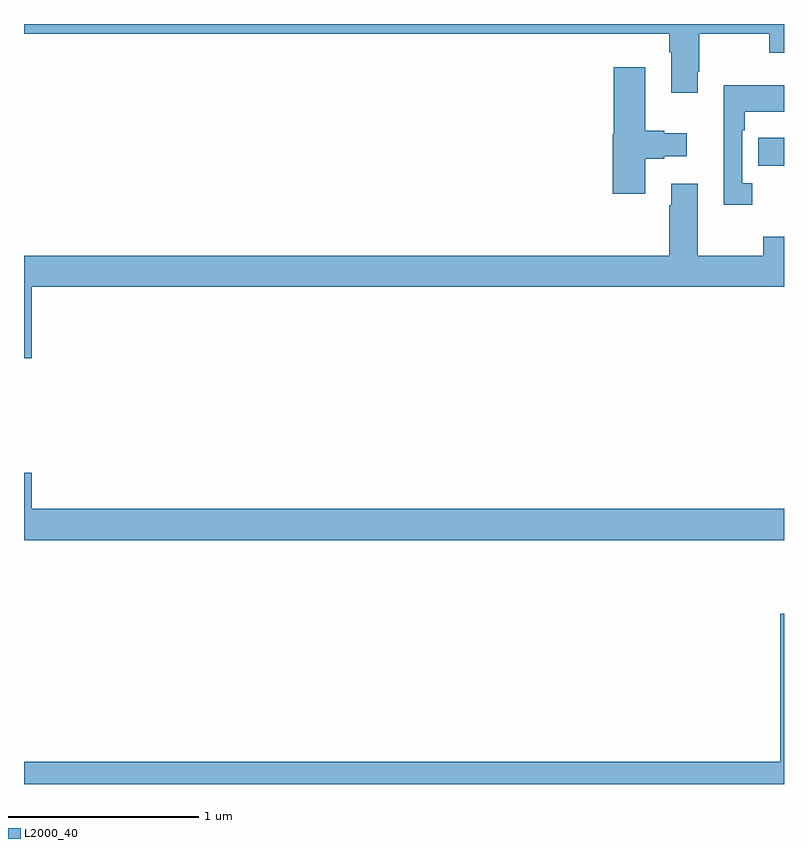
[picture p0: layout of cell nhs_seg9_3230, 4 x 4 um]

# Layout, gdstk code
import gdstk
lib = gdstk.Library(unit=1e-6, precision=1e-09)
def R(c, l, rs):  # rectangles x0, y0, x1, y1
    for r in rs: c.add(gdstk.rectangle(r[:2], r[2:], *l))
def P(c, l, *ps):  # polygons
    for p in ps: c.add(gdstk.Polygon(p, *l))
L2000_40 = (2000, 40)

nhs_seg9_3230 = lib.new_cell('nhs_seg9_3230')
R(nhs_seg9_3230, L2000_40, [(300.865,1167.754,301,1167.901)])
P(nhs_seg9_3230, L2000_40, [(300.547,1168.249),(300.555,1168.249),(300.555,1168.448),(300.922,1168.448),(300.922,1168.349),(301,1168.349),(301,1168.5),(297,1168.5),(297,1168.448),(300.395,1168.448),(300.395,1168.352),(300.407,1168.352),(300.407,1168.137),(300.547,1168.137)],
  [(300.271,1167.791),(300.371,1167.791),(300.371,1167.803),(300.487,1167.803),(300.487,1167.925),(300.371,1167.925),(300.371,1167.938),(300.271,1167.938),(300.271,1168.273),(300.104,1168.273),(300.104,1167.921),(300.098,1167.921),(300.098,1167.606),(300.271,1167.606)],
  [(300.832,1167.662),(300.78,1167.662),(300.78,1167.941),(300.793,1167.941),(300.793,1168.037),(301,1168.037),(301,1168.177),(300.683,1168.177),(300.683,1167.549),(300.832,1167.549)],
  [(297.04,1167.116),(301,1167.116),(301,1167.379),(300.892,1167.379),(300.892,1167.28),(300.547,1167.28),(300.547,1167.658),(300.407,1167.658),(300.407,1167.545),(300.395,1167.545),(300.395,1167.28),(297,1167.28),(297,1166.742),(297.04,1166.742)],
  [(301,1165.948),(297.04,1165.948),(297.04,1166.137),(297,1166.137),(297,1165.784),(301,1165.784)],
  [(301,1165.396),(300.98,1165.396),(300.98,1164.616),(297,1164.616),(297,1164.5),(301,1164.5)])

lib.write_gds('nhs_seg9_3230.gds')
